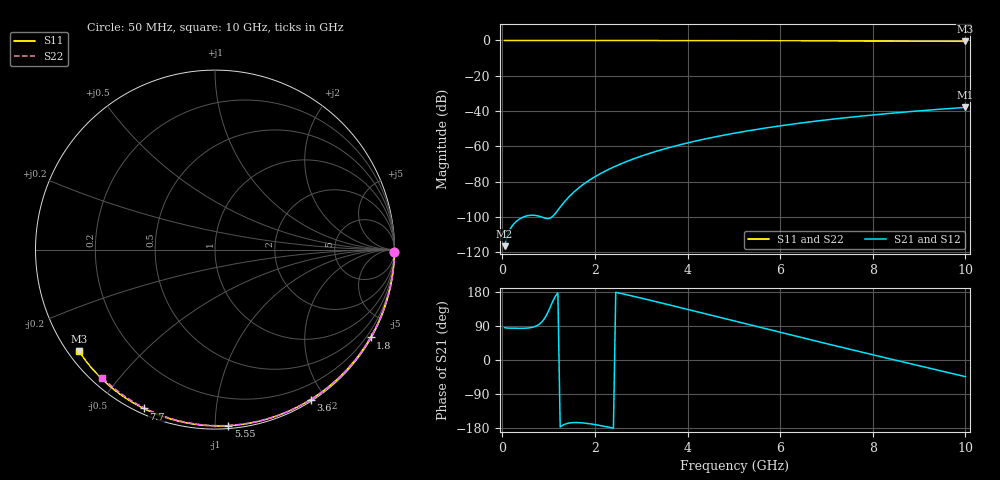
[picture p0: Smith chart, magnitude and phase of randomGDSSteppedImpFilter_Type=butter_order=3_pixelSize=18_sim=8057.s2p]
! freq	dB(S11)	phase(S11)	dB(S12)	phase(S12)
!  dB(S21)	phase(S21)	dB(S22)	phase(S22)
!S-par simulation data
#  GHz  S  DB  R 50
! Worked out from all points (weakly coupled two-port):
!   200 points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, 50 MHz to 10 GHz, reference 50 ohm
!   highest |S21| = -37.97 dB at 10 GHz (marker M1); lowest = -116.7 dB at 50 MHz (marker M2)
!   lowest |S11| = -0.5 dB at 10 GHz (marker M3), VSWR 35.81, Z = 1.55 - j16.6 ohm
!   |S11| at or under -10 dB: nowhere
!   |S22| runs from -0.4 to 0.0 dB; largest |S21 - S12| = 0
!   S11 on the Smith chart (normalised r, x): 50 MHz: open; 1.8 GHz: 0.03, -3.80; 3.6 GHz: 0.02, -1.82; 5.55 GHz: 0.02, -1.08; 7.7 GHz: 0.02, -0.65; 10 GHz: 0.03, -0.33
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0.05  -0.00 -0.8  -116.67 85.6  -116.67 85.6  -0.00 -0.8
0.45  -0.01 -7.5  -100.18 83.6  -100.18 83.6  -0.01 -6.8
0.9  -0.02 -14.9  -100.61 107.4  -100.61 107.4  -0.02 -13.6
1.75  -0.04 -28.7  -81.59 -166.2  -81.59 -166.2  -0.03 -26.2
1.8  -0.04 -29.5  -80.65 -166.9  -80.65 -166.9  -0.03 -26.9
1.85  -0.04 -30.3  -79.76 -167.6  -79.76 -167.6  -0.04 -27.7
2  -0.04 -32.7  -77.28 -170.4  -77.28 -170.4  -0.04 -29.9
2.15  -0.04 -35.0  -75.07 -173.8  -75.07 -173.8  -0.04 -32.0
2.35  -0.05 -38.2  -72.44 -178.7  -72.44 -178.7  -0.04 -34.9
2.55  -0.05 -41.3  -70.10 176.0  -70.10 176.0  -0.05 -37.8
2.95  -0.06 -47.6  -66.06 164.8  -66.06 164.8  -0.06 -43.5
3.4  -0.07 -54.5  -62.27 151.6  -62.27 151.6  -0.07 -49.9
3.6  -0.08 -57.5  -60.79 145.6  -60.79 145.6  -0.07 -52.6
4.3  -0.10 -67.9  -56.30 124.5  -56.30 124.5  -0.09 -62.2
5.05  -0.12 -78.6  -52.41 101.7  -52.41 101.7  -0.11 -72.2
5.55  -0.14 -85.6  -50.20 86.6  -50.20 86.6  -0.13 -78.6
6.1  -0.17 -93.2  -48.05 70.0  -48.05 70.0  -0.15 -85.6
6.7  -0.20 -101.2  -45.98 52.1  -45.98 52.1  -0.18 -93.0
7.7  -0.26 -114.2  -43.04 22.6  -43.04 22.6  -0.24 -105.0
8.35  -0.31 -122.5  -41.40 3.6  -41.40 3.6  -0.29 -112.6
9.2  -0.40 -133.2  -39.51 -20.9  -39.51 -20.9  -0.36 -122.3
10  -0.49 -143.2  -37.97 -43.9  -37.97 -43.9  -0.44 -131.3
